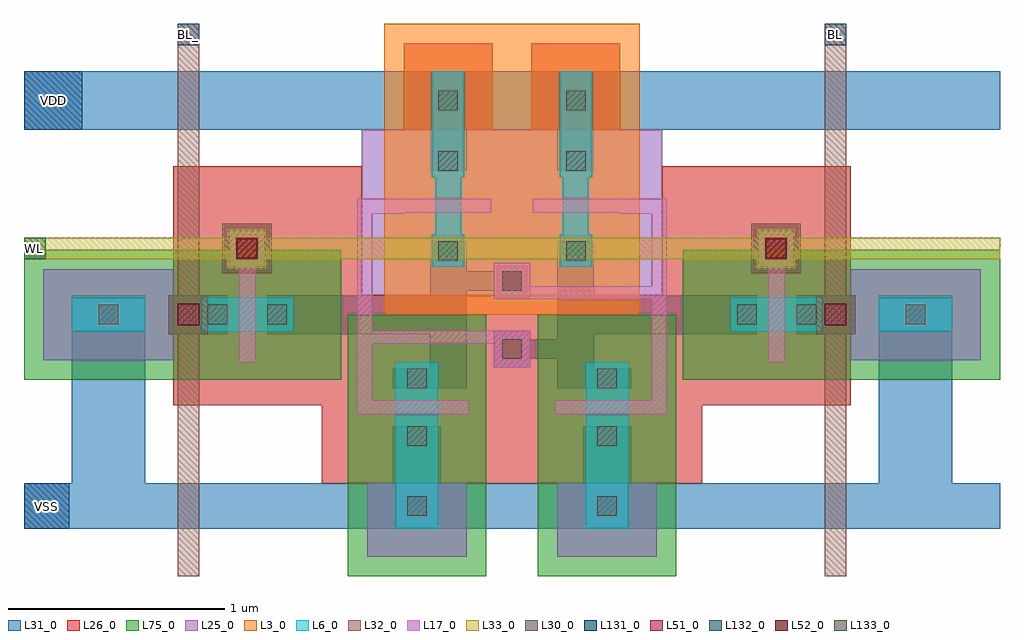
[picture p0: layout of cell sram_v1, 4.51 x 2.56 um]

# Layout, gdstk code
from math import pi, radians
import gdstk
lib = gdstk.Library(unit=1e-6, precision=1e-09)
def R(c, l, rs):  # rectangles x0, y0, x1, y1
    for r in rs: c.add(gdstk.rectangle(r[:2], r[2:], *l))
L3_0 = (3, 0)
L6_0 = (6, 0)
L17_0 = (17, 0)
L25_0 = (25, 0)
L26_0 = (26, 0)
L30_0 = (30, 0)
L31_0 = (31, 0)
L32_0 = (32, 0)
L33_0 = (33, 0)
L51_0 = (51, 0)
L52_0 = (52, 0)
L75_0 = (75, 0)
L131_0 = (131, 0)
L132_0 = (132, 0)
L133_0 = (133, 0)

nch_cdns_683992089190 = lib.new_cell('nch_CDNS_683992089190')
R(nch_cdns_683992089190, L6_0, [(-0.53,0,-0.32,0.2), (-0.32,0,0,0.2), (0,0,0.065,0.2), (0.065,0,0.24,0.2)])
R(nch_cdns_683992089190, L17_0, [(0,-0.14,0.065,0), (0,0,0.065,0.2), (0,0.2,0.065,0.34)])
R(nch_cdns_683992089190, L25_0, [(-0.66,-0.13,-0.32,0.33)])
R(nch_cdns_683992089190, L26_0, [(-0.32,-0.34,0.37,0.54)])
R(nch_cdns_683992089190, L30_0, [(-0.47,0.055,-0.38,0.145), (-0.145,0.055,-0.055,0.145), (0.12,0.055,0.21,0.145)])
R(nch_cdns_683992089190, L31_0, [(-0.32,-0.01,-0.145,0.21), (-0.145,-0.01,-0.055,0.21), (0.12,-0.01,0.21,0.21)])
R(nch_cdns_683992089190, L75_0, [(-0.75,-0.22,0.46,0.42)])
nch_cdns_683992089190.add(gdstk.FlexPath([(-0.425,-0.01),(-0.425,0.21)], 0.21, ends="flush", simple_path=True, layer=31, datatype=0))  # L31_0
nch_cdns_683992089190.add(gdstk.Label('& SerialNumber 000000', (0,0), layer=63, texttype=63))
nch_cdns_683992089190.add(gdstk.Label('& Distributor TSMC', (0,0), layer=63, texttype=63))
nch_cdns_683992089190.add(gdstk.Label('& Metric 1', (0,0), layer=63, texttype=63))
nch_cdns_683992089190.add(gdstk.Label('& PDK TechNode "CRN65LP"', (0,0), layer=63, texttype=63))
nch_cdns_683992089190.add(gdstk.Label('& Product    tsmcN65_PDK', (0,0), layer=63, texttype=63))
nch_cdns_683992089190.add(gdstk.Label('& Vendor     Taiwan Semiconductor manufacturing Corp.', (0,0), layer=63, texttype=63))
nch_cdns_683992089190.add(gdstk.Label('[@instanceName]', (0.032,0.1), layer=127, texttype=0))
nch_cdns_683992089190.add(gdstk.Label('nch\n0.2/0.065\n', (0,0), layer=127, texttype=0))
nch_cdns_683992089190.add(gdstk.Label('B', (-0.425,0.1), layer=127, texttype=0))
nch_cdns_683992089190.add(gdstk.Label('D', (0.165,0.1), layer=127, texttype=0))
nch_cdns_683992089190.add(gdstk.Label('S', (-0.1,0.1), layer=127, texttype=0))

pch_cdns_683992089191 = lib.new_cell('pch_CDNS_683992089191')
R(pch_cdns_683992089191, L3_0, [(-0.81,-0.235,0.535,0.355)])
R(pch_cdns_683992089191, L6_0, [(-0.59,-0.015,-0.32,0.135), (-0.32,-0.015,-0.25,0.135), (-0.25,-0.015,-0.1,0.135), (0.165,-0.015,0.315,0.135), (-0.32,0,0,0.12), (0,0,0.065,0.12), (0.065,0,0.315,0.12)])
R(pch_cdns_683992089191, L17_0, [(0,-0.14,0.065,0), (0,0,0.065,0.12), (0,0.12,0.065,0.26)])
R(pch_cdns_683992089191, L25_0, [(-0.32,-0.34,-0.29,0.46), (-0.29,-0.34,0.445,0.46)])
R(pch_cdns_683992089191, L26_0, [(-0.72,-0.145,-0.32,0.265)])
R(pch_cdns_683992089191, L30_0, [(-0.5,0.015,-0.41,0.105), (-0.22,0.015,-0.13,0.105), (0.195,0.015,0.285,0.105)])
R(pch_cdns_683992089191, L31_0, [(-0.32,-0.025,-0.22,0.145), (-0.22,-0.025,-0.13,0.145), (0.195,-0.025,0.285,0.145)])
pch_cdns_683992089191.add(gdstk.FlexPath([(-0.455,-0.025),(-0.455,0.145)], 0.27, ends="flush", simple_path=True, layer=31, datatype=0))  # L31_0
pch_cdns_683992089191.add(gdstk.Label('& SerialNumber 000000', (0,0), layer=63, texttype=63))
pch_cdns_683992089191.add(gdstk.Label('& Distributor TSMC', (0,0), layer=63, texttype=63))
pch_cdns_683992089191.add(gdstk.Label('& Metric 1', (0,0), layer=63, texttype=63))
pch_cdns_683992089191.add(gdstk.Label('& PDK TechNode "CRN65LP"', (0,0), layer=63, texttype=63))
pch_cdns_683992089191.add(gdstk.Label('& Product    tsmcN65_PDK', (0,0), layer=63, texttype=63))
pch_cdns_683992089191.add(gdstk.Label('& Vendor     Taiwan Semiconductor manufacturing Corp.', (0,0), layer=63, texttype=63))
pch_cdns_683992089191.add(gdstk.Label('[@instanceName]', (0.032,0.06), layer=127, texttype=0))
pch_cdns_683992089191.add(gdstk.Label('pch\n0.12/0.065\n', (0,0), layer=127, texttype=0))
pch_cdns_683992089191.add(gdstk.Label('B', (-0.455,0.06), layer=127, texttype=0))
pch_cdns_683992089191.add(gdstk.Label('D', (0.24,0.06), layer=127, texttype=0))
pch_cdns_683992089191.add(gdstk.Label('S', (-0.175,0.06), layer=127, texttype=0))

nch_cdns_683992089192 = lib.new_cell('nch_CDNS_683992089192')
R(nch_cdns_683992089192, L6_0, [(-0.175,0,0,0.16), (0,0,0.075,0.16), (0.075,0,0.25,0.16), (0.51,0,0.85,0.16)])
R(nch_cdns_683992089192, L17_0, [(0,-0.14,0.075,0), (0,0,0.075,0.16), (0,0.16,0.075,0.3)])
R(nch_cdns_683992089192, L25_0, [(0.38,-0.13,0.98,0.29)])
R(nch_cdns_683992089192, L26_0, [(-0.305,-0.34,0.38,0.5)])
R(nch_cdns_683992089192, L30_0, [(-0.145,0.035,-0.055,0.125), (0.13,0.035,0.22,0.125), (0.635,0.035,0.725,0.125)])
R(nch_cdns_683992089192, L31_0, [(-0.145,-0.01,-0.055,0.17), (0.13,-0.01,0.22,0.17)])
R(nch_cdns_683992089192, L75_0, [(-0.395,-0.22,1.07,0.38)])
nch_cdns_683992089192.add(gdstk.FlexPath([(0.68,-0.01),(0.68,0.17)], 0.34, ends="flush", simple_path=True, layer=31, datatype=0))  # L31_0
nch_cdns_683992089192.add(gdstk.Label('& SerialNumber 000000', (0,0), layer=63, texttype=63))
nch_cdns_683992089192.add(gdstk.Label('& Distributor TSMC', (0,0), layer=63, texttype=63))
nch_cdns_683992089192.add(gdstk.Label('& Metric 1', (0,0), layer=63, texttype=63))
nch_cdns_683992089192.add(gdstk.Label('& PDK TechNode "CRN65LP"', (0,0), layer=63, texttype=63))
nch_cdns_683992089192.add(gdstk.Label('& Product    tsmcN65_PDK', (0,0), layer=63, texttype=63))
nch_cdns_683992089192.add(gdstk.Label('& Vendor     Taiwan Semiconductor manufacturing Corp.', (0,0), layer=63, texttype=63))
nch_cdns_683992089192.add(gdstk.Label('[@instanceName]', (0.037,0.08), layer=127, texttype=0))
nch_cdns_683992089192.add(gdstk.Label('nch\n0.16/0.075\n', (0,0), layer=127, texttype=0))
nch_cdns_683992089192.add(gdstk.Label('B', (0.68,0.08), layer=127, texttype=0))
nch_cdns_683992089192.add(gdstk.Label('D', (0.175,0.08), layer=127, texttype=0))
nch_cdns_683992089192.add(gdstk.Label('S', (-0.1,0.08), layer=127, texttype=0))

m1_po_cdns_683992089190 = lib.new_cell('M1_PO_CDNS_683992089190')
R(m1_po_cdns_683992089190, L17_0, [(-0.085,-0.085,0.085,0.085)])
R(m1_po_cdns_683992089190, L30_0, [(-0.045,-0.045,0.045,0.045)])
R(m1_po_cdns_683992089190, L31_0, [(-0.085,-0.085,0.085,0.085)])

m3_m2_cdns_683992089191 = lib.new_cell('M3_M2_CDNS_683992089191')
R(m3_m2_cdns_683992089191, L32_0, [(-0.115,-0.115,0.115,0.115)])
R(m3_m2_cdns_683992089191, L33_0, [(-0.09,-0.09,0.09,0.09)])
R(m3_m2_cdns_683992089191, L52_0, [(-0.05,-0.05,0.05,0.05)])

m2_m1_cdns_683992089192 = lib.new_cell('M2_M1_CDNS_683992089192')
R(m2_m1_cdns_683992089192, L31_0, [(-0.105,-0.105,0.105,0.105)])
R(m2_m1_cdns_683992089192, L32_0, [(-0.115,-0.115,0.115,0.115)])
R(m2_m1_cdns_683992089192, L51_0, [(-0.05,-0.05,0.05,0.05)])

m1_po_cdns_683992089193 = lib.new_cell('M1_PO_CDNS_683992089193')
R(m1_po_cdns_683992089193, L17_0, [(-0.085,-0.085,0.085,0.085)])
R(m1_po_cdns_683992089193, L30_0, [(-0.045,-0.045,0.045,0.045)])
R(m1_po_cdns_683992089193, L31_0, [(-0.105,-0.105,0.105,0.105)])

m2_m1_cdns_683992089194 = lib.new_cell('M2_M1_CDNS_683992089194')
R(m2_m1_cdns_683992089194, L31_0, [(-0.09,-0.09,0.09,0.09)])
R(m2_m1_cdns_683992089194, L32_0, [(-0.09,-0.09,0.09,0.09)])
R(m2_m1_cdns_683992089194, L51_0, [(-0.05,-0.05,0.05,0.05)])

sram_v1 = lib.new_cell('sram_v1')
R(sram_v1, L26_0, [(1.375,1.12,1.56,1.895), (1.56,1.12,2.95,1.3), (2.95,1.12,3.135,1.895), (0.69,1.63,1.375,1.895), (3.135,1.63,3.82,1.895)])
R(sram_v1, L131_0, [(0,0.22,0.21,0.43), (0,2.065,0.27,2.335)])
R(sram_v1, L132_0, [(0.71,2.455,0.81,2.555), (3.7,2.455,3.8,2.555)])
R(sram_v1, L133_0, [(0,1.465,0.1,1.565)])
sram_v1.add(gdstk.FlexPath([(1.575,1.105),(2.255,1.105)], 0.06, ends=(0.035, 0), simple_path=True, layer=17, datatype=0))  # L17_0
sram_v1.add(gdstk.FlexPath([(2.255,1.31),(2.255,1.365)], 0.17, ends=(0.03, 0), simple_path=True, layer=17, datatype=0))  # L17_0
sram_v1.add(gdstk.FlexPath([(2.935,1.31),(2.255,1.31)], 0.06, ends=(0.035, 0.085), simple_path=True, layer=17, datatype=0))  # L17_0
sram_v1.add(gdstk.FlexPath([(2.935,0.785),(2.935,1.31)], 0.07, ends=(0.035, 0.03), simple_path=True, layer=17, datatype=0))  # L17_0
sram_v1.add(gdstk.FlexPath([(1.575,0.785),(1.575,1.105)], 0.07, ends=(0.035, 0.03), simple_path=True, layer=17, datatype=0))  # L17_0
sram_v1.add(gdstk.FlexPath([(1.575,1.71),(1.76,1.71)], 0.07, ends=(0.035, 0), simple_path=True, layer=17, datatype=0))  # L17_0
sram_v1.add(gdstk.FlexPath([(1.575,1.105),(1.575,1.71)], 0.07, ends=(0.03, 0.035), simple_path=True, layer=17, datatype=0))  # L17_0
sram_v1.add(gdstk.FlexPath([(2.935,1.71),(2.75,1.71)], 0.07, ends=(0.035, 0), simple_path=True, layer=17, datatype=0))  # L17_0
sram_v1.add(gdstk.FlexPath([(2.935,1.31),(2.935,1.71)], 0.07, ends=(0.03, 0.035), simple_path=True, layer=17, datatype=0))  # L17_0
sram_v1.add(gdstk.FlexPath([(2.55,1.05),(2.55,0.915)], 0.17, ends=(0.045, 0.045), simple_path=True, layer=31, datatype=0))  # L31_0
sram_v1.add(gdstk.FlexPath([(1.96,1.46),(1.96,1.365)], 0.17, ends=(0, 0.045), simple_path=True, layer=31, datatype=0))  # L31_0
sram_v1.add(gdstk.FlexPath([(2.255,1.365),(1.96,1.365)], 0.09, ends=(0, 0.085), simple_path=True, layer=31, datatype=0))  # L31_0
sram_v1.add(gdstk.FlexPath([(1.96,1.365),(1.96,1.21)], 0.17, ends=(0.045, 0.09), simple_path=True, layer=31, datatype=0))  # L31_0
sram_v1.add(gdstk.FlexPath([(1.215,1.21),(1.96,1.21)], 0.18, ends=(0, 0.085), simple_path=True, layer=31, datatype=0))  # L31_0
sram_v1.add(gdstk.FlexPath([(2.55,1.46),(2.55,1.21)], 0.17, ends=(0, 0.09), simple_path=True, layer=31, datatype=0))  # L31_0
sram_v1.add(gdstk.FlexPath([(1.96,1.21),(1.96,0.915)], 0.17, ends=(0.09, 0.045), simple_path=True, layer=31, datatype=0))  # L31_0
sram_v1.add(gdstk.FlexPath([(2.55,0.915),(2.465,0.915)], 0.09, ends=(0.085, 0), simple_path=True, layer=31, datatype=0))  # L31_0
sram_v1.add(gdstk.FlexPath([(4.12,1.12),(4.12,0.325)], 0.34, ends=(0, 0.105), simple_path=True, layer=31, datatype=0))  # L31_0
sram_v1.add(gdstk.FlexPath([(2.55,1.21),(2.55,1.05)], 0.17, ends=(0.09, 0.045), simple_path=True, layer=31, datatype=0))  # L31_0
sram_v1.add(gdstk.FlexPath([(0.39,0.325),(0.39,1.12)], 0.34, ends=(0.105, 0), simple_path=True, layer=31, datatype=0))  # L31_0
sram_v1.add(gdstk.FlexPath([(1.705,0.325),(0.39,0.325)], 0.21, ends=(0, 0.17), simple_path=True, layer=31, datatype=0))  # L31_0
sram_v1.add(gdstk.FlexPath([(2.635,2.2),(4.51,2.2)], 0.27, ends="flush", simple_path=True, layer=31, datatype=0))  # L31_0
sram_v1.add(gdstk.FlexPath([(1.875,2.2),(0,2.2)], 0.27, ends="flush", simple_path=True, layer=31, datatype=0))  # L31_0
sram_v1.add(gdstk.FlexPath([(1.96,0.915),(2.045,0.915)], 0.09, ends=(0.085, 0), simple_path=True, layer=31, datatype=0))  # L31_0
sram_v1.add(gdstk.FlexPath([(2.255,1.05),(2.55,1.05)], 0.09, ends=(0, 0.085), simple_path=True, layer=31, datatype=0))  # L31_0
sram_v1.add(gdstk.FlexPath([(4.12,0.325),(4.51,0.325)], 0.21, ends=(0.17, 0), simple_path=True, layer=31, datatype=0))  # L31_0
sram_v1.add(gdstk.FlexPath([(3.295,1.21),(2.55,1.21)], 0.18, ends=(0, 0.085), simple_path=True, layer=31, datatype=0))  # L31_0
sram_v1.add(gdstk.FlexPath([(2.805,0.325),(4.12,0.325)], 0.21, ends=(0, 0.17), simple_path=True, layer=31, datatype=0))  # L31_0
sram_v1.add(gdstk.FlexPath([(2.045,2.2),(2.465,2.2)], 0.27, ends="flush", simple_path=True, layer=31, datatype=0))  # L31_0
sram_v1.add(gdstk.FlexPath([(2.585,0.325),(1.925,0.325)], 0.21, ends="flush", simple_path=True, layer=31, datatype=0))  # L31_0
sram_v1.add(gdstk.FlexPath([(0.39,0.325),(0,0.325)], 0.21, ends=(0.17, 0), simple_path=True, layer=31, datatype=0))  # L31_0
sram_v1.add(gdstk.FlexPath([(0.76,1.21),(0.76,0)], 0.1, ends="flush", simple_path=True, layer=32, datatype=0))  # L32_0
sram_v1.add(gdstk.FlexPath([(0.76,1.21),(0.76,2.555)], 0.1, ends="flush", simple_path=True, layer=32, datatype=0))  # L32_0
sram_v1.add(gdstk.FlexPath([(3.75,1.21),(3.75,0)], 0.1, ends="flush", simple_path=True, layer=32, datatype=0))  # L32_0
sram_v1.add(gdstk.FlexPath([(3.75,1.21),(3.75,2.555)], 0.1, ends="flush", simple_path=True, layer=32, datatype=0))  # L32_0
sram_v1.add(gdstk.FlexPath([(1.03,1.515),(0,1.515)], 0.1, ends="flush", simple_path=True, layer=33, datatype=0))  # L33_0
sram_v1.add(gdstk.FlexPath([(3.475,1.515),(1.03,1.515)], 0.1, ends="flush", simple_path=True, layer=33, datatype=0))  # L33_0
sram_v1.add(gdstk.FlexPath([(3.475,1.515),(4.51,1.515)], 0.1, ends="flush", simple_path=True, layer=33, datatype=0))  # L33_0
sram_v1.add(gdstk.Reference(nch_cdns_683992089190, (1.915,0.75), rotation=pi/2))
sram_v1.add(gdstk.Reference(nch_cdns_683992089190, (2.795,0.75), rotation=pi/2))
sram_v1.add(gdstk.Reference(pch_cdns_683992089191, (2.61,1.745), rotation=3*pi/2, x_reflection=True))
sram_v1.add(gdstk.Reference(pch_cdns_683992089191, (2.02,1.745), rotation=3*pi/2, x_reflection=True))
sram_v1.add(gdstk.Reference(nch_cdns_683992089192, (3.44,1.13)))
sram_v1.add(gdstk.Reference(nch_cdns_683992089192, (1.07,1.13), rotation=pi, x_reflection=True))
sram_v1.add(gdstk.Reference(m1_po_cdns_683992089190, (2.255,1.05)))
sram_v1.add(gdstk.Reference(m1_po_cdns_683992089190, (2.255,1.365)))
sram_v1.add(gdstk.Reference(m3_m2_cdns_683992089191, (3.475,1.515)))
sram_v1.add(gdstk.Reference(m3_m2_cdns_683992089191, (1.03,1.515)))
sram_v1.add(gdstk.Reference(m2_m1_cdns_683992089192, (3.475,1.515)))
sram_v1.add(gdstk.Reference(m2_m1_cdns_683992089192, (1.03,1.515)))
sram_v1.add(gdstk.Reference(m1_po_cdns_683992089193, (3.475,1.515)))
sram_v1.add(gdstk.Reference(m1_po_cdns_683992089193, (1.03,1.515)))
sram_v1.add(gdstk.Reference(m2_m1_cdns_683992089194, (3.75,1.21)))
sram_v1.add(gdstk.Reference(m2_m1_cdns_683992089194, (0.76,1.21)))
sram_v1.add(gdstk.Label('VSS', (0.105,0.325), layer=131, texttype=0))
sram_v1.add(gdstk.Label('VDD', (0.135,2.2), layer=131, texttype=0))
sram_v1.add(gdstk.Label('BL', (3.75,2.505), layer=132, texttype=0))
sram_v1.add(gdstk.Label('BL_', (0.76,2.505), layer=132, texttype=0))
sram_v1.add(gdstk.Label('WL', (0.05,1.515), layer=133, texttype=0))

lib.write_gds('sram_v1.gds')
